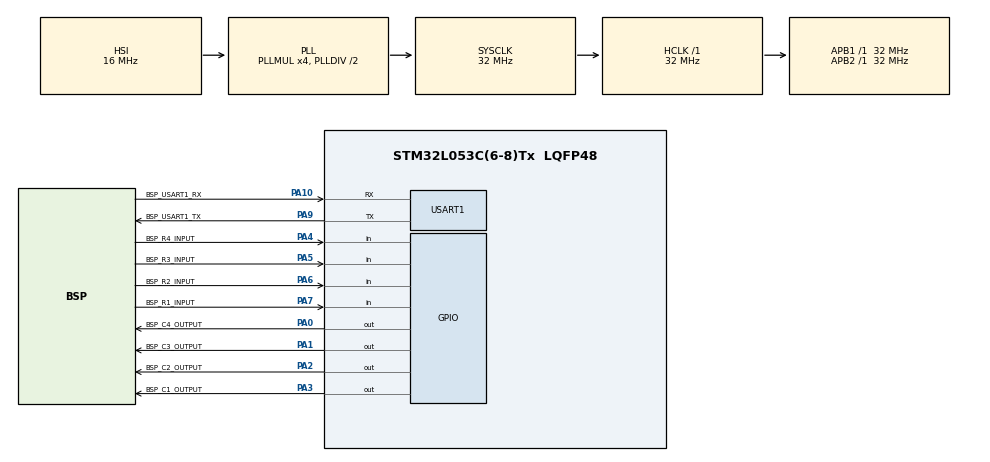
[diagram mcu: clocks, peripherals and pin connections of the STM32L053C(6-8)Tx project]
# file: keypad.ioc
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Mcu.Family=STM32L0
Mcu.Name=STM32L053C(6-8)Tx
Mcu.Package=LQFP48
PA0.GPIO_Label=BSP_C4_OUTPUT
PA0.Signal=GPIO_Output
PA1.GPIO_Label=BSP_C3_OUTPUT
PA1.Signal=GPIO_Output
PA10.GPIO_Label=BSP_USART1_RX
PA10.Mode=Asynchronous
PA10.Signal=USART1_RX
PA13.Mode=Serial_Wire
PA13.Signal=SYS_SWDIO
PA14.Mode=Serial_Wire
PA14.Signal=SYS_SWCLK
PA2.GPIO_Label=BSP_C2_OUTPUT
PA2.Signal=GPIO_Output
PA3.GPIO_Label=BSP_C1_OUTPUT
PA3.Signal=GPIO_Output
PA4.GPIO_Label=BSP_R4_INPUT
PA4.GPIO_PuPd=GPIO_PULLUP
PA4.Signal=GPIO_Input
PA5.GPIO_Label=BSP_R3_INPUT
PA5.GPIO_PuPd=GPIO_PULLUP
PA5.Signal=GPIO_Input
PA6.GPIO_Label=BSP_R2_INPUT
PA6.GPIO_PuPd=GPIO_PULLUP
PA6.Signal=GPIO_Input
PA7.GPIO_Label=BSP_R1_INPUT
PA7.GPIO_PuPd=GPIO_PULLUP
PA7.Signal=GPIO_Input
PA9.GPIO_Label=BSP_USART1_TX
PA9.Mode=Asynchronous
PA9.Signal=USART1_TX
ProjectManager.HeapSize=0x200
ProjectManager.StackSize=0x400
ProjectManager.TargetToolchain=STM32CubeIDE
RCC.AHBFreq_Value=32000000
RCC.APB1Freq_Value=32000000
RCC.APB1TimFreq_Value=32000000
RCC.APB2Freq_Value=32000000
RCC.APB2TimFreq_Value=32000000
RCC.HCLKFreq_Value=32000000
RCC.HSE_VALUE=8000000
RCC.HSI16_VALUE=16000000
RCC.HSI48MClockSelection=RCC_USBCLKSOURCE_HSI48
RCC.HSI48_VALUE=48000000
RCC.HSI_VALUE=16000000
RCC.LSE_VALUE=32768
RCC.MSI_VALUE=2097000
RCC.PLLMUL=RCC_PLLMUL_4
RCC.RTCClockSelectionVirtual=RCC_RTCCLKSOURCE_LSE
RCC.SYSCLKFreq_VALUE=32000000
RCC.SYSCLKSource=RCC_SYSCLKSOURCE_PLLCLK
RCC.VCOOutputFreq_Value=64000000
USART1.VirtualMode-Asynchronous=VM_ASYNC
board=STM32L0538-DISCO

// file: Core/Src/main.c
/* USER CODE BEGIN Header */
/**
  ******************************************************************************
  * @file           : main.c
  * @brief          : Main program body
  ******************************************************************************
  * @attention
  *
  * Copyright (c) 2024 STMicroelectronics.
  * All rights reserved.
  *
  * This software is licensed under terms that can be found in the LICENSE file
  * in the root directory of this software component.
  * If no LICENSE file comes with this software, it is provided AS-IS.
  *
  ******************************************************************************
  */
/* USER CODE END Header */
#include "main.h"

/* USER CODE BEGIN Includes */
#include "stm32l0xx_hal.h" // Include the STM32 HAL library
//#include "key.h" // Include the Key header file
#include "keypad.h" // Include the Keypad header file
/* USER CODE END Includes */

/* USER CODE BEGIN PD */
// Define the keypad size

// Define GPIO pins for keypad rows and columns
#define ROW_PIN_1 GPIO_PIN_7
#define ROW_PIN_2 GPIO_PIN_6
#define ROW_PIN_3 GPIO_PIN_5
#define ROW_PIN_4 GPIO_PIN_4
#define COL_PIN_1 GPIO_PIN_3
#define COL_PIN_2 GPIO_PIN_2
#define COL_PIN_3 GPIO_PIN_1
#define COL_PIN_4 GPIO_PIN_0

#define NUM_ROWS 4
#define NUM_COLS 4

// Define the keymap for the keypad
char keymap[NUM_ROWS][NUM_COLS] = {
    {'1', '2', '3', 'A'},
    {'4', '5', '6', 'B'},
    {'7', '8', '9', 'C'},
    {'*', '0', '#', 'D'}
};

// Keypad object
Keypad keypad;
/* USER CODE END PD */

UART_HandleTypeDef huart1;

void SystemClock_Config(void);
static void MX_GPIO_Init(void);
static void MX_USART1_UART_Init(void);

int main(void)
{

  /* MCU Configuration--------------------------------------------------------*/

  /* Reset of all peripherals, Initializes the Flash interface and the Systick. */
  HAL_Init();

  /* Configure the system clock */
  SystemClock_Config();

  /* Initialize all configured peripherals */
  MX_GPIO_Init();
  MX_USART1_UART_Init();
  /* USER CODE BEGIN 2 */
  Keypad_init(&keypad, (char *)keymap, ROW_PIN_1, ROW_PIN_2, ROW_PIN_3, ROW_PIN_4,
		  	  	  	  	  COL_PIN_1, COL_PIN_2, COL_PIN_3, COL_PIN_4, NUM_ROWS, NUM_COLS);
  /* USER CODE END 2 */

  /* Infinite loop */
  while (1)
  {

    /* USER CODE BEGIN 3 */
	  // Check for key press
	          if (Keypad_getKeys(&keypad)) {
	              // Handle key press events
	              // For example, print the pressed key to UART
	              char pressedKey = keypad.key[0].kchar; // Assuming single key press
	              // Handle the pressed key, such as sending it over UART or performing an action
	          }

	          // Add delay or other operations as needed
	          HAL_Delay(100); // Delay for debounce or polling interval
  }
  /* USER CODE END 3 */
}

void SystemClock_Config(void)
{
  RCC_OscInitTypeDef RCC_OscInitStruct = {0};
  RCC_ClkInitTypeDef RCC_ClkInitStruct = {0};
  RCC_PeriphCLKInitTypeDef PeriphClkInit = {0};

  /** Configure the main internal regulator output voltage
  */
  __HAL_PWR_VOLTAGESCALING_CONFIG(PWR_REGULATOR_VOLTAGE_SCALE1);

  /** Initializes the RCC Oscillators according to the specified parameters
  * in the RCC_OscInitTypeDef structure.
  */
  RCC_OscInitStruct.OscillatorType = RCC_OSCILLATORTYPE_HSI;
  RCC_OscInitStruct.HSIState = RCC_HSI_ON;
  RCC_OscInitStruct.HSICalibrationValue = RCC_HSICALIBRATION_DEFAULT;
  RCC_OscInitStruct.PLL.PLLState = RCC_PLL_ON;
  RCC_OscInitStruct.PLL.PLLSource = RCC_PLLSOURCE_HSI;
  RCC_OscInitStruct.PLL.PLLMUL = RCC_PLLMUL_4;
  RCC_OscInitStruct.PLL.PLLDIV = RCC_PLLDIV_2;
  if (HAL_RCC_OscConfig(&RCC_OscInitStruct) != HAL_OK)
  {
    Error_Handler();
  }

  /** Initializes the CPU, AHB and APB buses clocks
  */
  RCC_ClkInitStruct.ClockType = RCC_CLOCKTYPE_HCLK|RCC_CLOCKTYPE_SYSCLK
                              |RCC_CLOCKTYPE_PCLK1|RCC_CLOCKTYPE_PCLK2;
  RCC_ClkInitStruct.SYSCLKSource = RCC_SYSCLKSOURCE_PLLCLK;
  RCC_ClkInitStruct.AHBCLKDivider = RCC_SYSCLK_DIV1;
  RCC_ClkInitStruct.APB1CLKDivider = RCC_HCLK_DIV1;
  RCC_ClkInitStruct.APB2CLKDivider = RCC_HCLK_DIV1;

  if (HAL_RCC_ClockConfig(&RCC_ClkInitStruct, FLASH_LATENCY_1) != HAL_OK)
  {
    Error_Handler();
  }
  PeriphClkInit.PeriphClockSelection = RCC_PERIPHCLK_USART1;
  PeriphClkInit.Usart1ClockSelection = RCC_USART1CLKSOURCE_PCLK2;
  if (HAL_RCCEx_PeriphCLKConfig(&PeriphClkInit) != HAL_OK)
  {
    Error_Handler();
  }
}

static void MX_USART1_UART_Init(void)
{

  huart1.Instance = USART1;
  huart1.Init.BaudRate = 115200;
  huart1.Init.WordLength = UART_WORDLENGTH_8B;
  huart1.Init.StopBits = UART_STOPBITS_1;
  huart1.Init.Parity = UART_PARITY_NONE;
  huart1.Init.Mode = UART_MODE_TX_RX;
  huart1.Init.HwFlowCtl = UART_HWCONTROL_NONE;
  huart1.Init.OverSampling = UART_OVERSAMPLING_16;
  huart1.Init.OneBitSampling = UART_ONE_BIT_SAMPLE_DISABLE;
  huart1.AdvancedInit.AdvFeatureInit = UART_ADVFEATURE_NO_INIT;
  if (HAL_UART_Init(&huart1) != HAL_OK)
  {
    Error_Handler();
  }

}

static void MX_GPIO_Init(void)
{
  GPIO_InitTypeDef GPIO_InitStruct = {0};

  /* GPIO Ports Clock Enable */
  __HAL_RCC_GPIOA_CLK_ENABLE();

  /*Configure GPIO pin Output Level */
  HAL_GPIO_WritePin(GPIOA, BSP_C4_OUTPUT_Pin|BSP_C3_OUTPUT_Pin|BSP_C2_OUTPUT_Pin|BSP_C1_OUTPUT_Pin, GPIO_PIN_RESET);

  /*Configure GPIO pins : BSP_C4_OUTPUT_Pin BSP_C3_OUTPUT_Pin BSP_C2_OUTPUT_Pin BSP_C1_OUTPUT_Pin */
  GPIO_InitStruct.Pin = BSP_C4_OUTPUT_Pin|BSP_C3_OUTPUT_Pin|BSP_C2_OUTPUT_Pin|BSP_C1_OUTPUT_Pin;
  GPIO_InitStruct.Mode = GPIO_MODE_OUTPUT_PP;
  GPIO_InitStruct.Pull = GPIO_NOPULL;
  GPIO_InitStruct.Speed = GPIO_SPEED_FREQ_LOW;
  HAL_GPIO_Init(GPIOA, &GPIO_InitStruct);

  /*Configure GPIO pins : BSP_R4_INPUT_Pin BSP_R3_INPUT_Pin BSP_R2_INPUT_Pin BSP_R1_INPUT_Pin */
  GPIO_InitStruct.Pin = BSP_R4_INPUT_Pin|BSP_R3_INPUT_Pin|BSP_R2_INPUT_Pin|BSP_R1_INPUT_Pin;
  GPIO_InitStruct.Mode = GPIO_MODE_INPUT;
  GPIO_InitStruct.Pull = GPIO_PULLUP;
  HAL_GPIO_Init(GPIOA, &GPIO_InitStruct);

}

void Error_Handler(void)
{
  __disable_irq();
  while (1)
  {
  }
}
